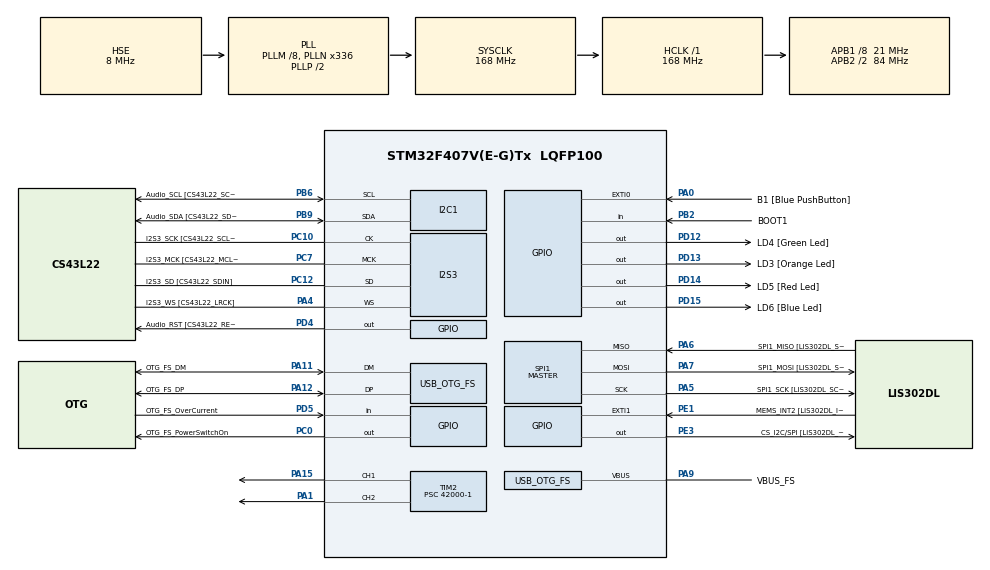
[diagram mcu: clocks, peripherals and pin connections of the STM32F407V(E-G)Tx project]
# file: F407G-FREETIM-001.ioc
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I2S3.AudioFreq-Half_Duplex_Master=I2S_AUDIOFREQ_96K
I2S3.ErrorAudioFreq=-2.34 %
I2S3.ErrorAudioFreq-Half_Duplex_Master=0.8 %
I2S3.FullDuplexMode=I2S_FULLDUPLEXMODE_DISABLE
I2S3.Instance=SPI$Index
I2S3.RealAudioFreq=93.75 KHz
I2S3.RealAudioFreq-Half_Duplex_Master=96.774 KHz
I2S3.VirtualMode=I2S_MODE_MASTER
Mcu.Family=STM32F4
Mcu.Name=STM32F407V(E-G)Tx
Mcu.Package=LQFP100
NVIC.OTG_FS_IRQn=true\:0\:0\:false\:false\:true\:true\:true\:true
NVIC.PriorityGroup=NVIC_PRIORITYGROUP_0
NVIC.TIM2_IRQn=true\:0\:0\:false\:false\:true\:true\:true\:true
PA0-WKUP.GPIO_Label=B1 [Blue PushButton]
PA0-WKUP.GPIO_ModeDefaultEXTI=GPIO_MODE_EVT_RISING
PA0-WKUP.GPIO_PuPd=GPIO_NOPULL
PA0-WKUP.Signal=GPXTI0
PA1.Signal=S_TIM2_CH2
PA10.GPIO_Label=OTG_FS_ID
PA10.GPIO_Mode=GPIO_MODE_AF_PP
PA10.GPIO_PuPd=GPIO_NOPULL
PA10.GPIO_Speed=GPIO_SPEED_FREQ_LOW
PA10.Signal=USB_OTG_FS_ID
PA11.GPIO_Label=OTG_FS_DM
PA11.GPIO_Mode=GPIO_MODE_AF_PP
PA11.GPIO_PuPd=GPIO_NOPULL
PA11.GPIO_Speed=GPIO_SPEED_FREQ_LOW
PA11.Mode=Host_Only
PA11.Signal=USB_OTG_FS_DM
PA12.GPIO_Label=OTG_FS_DP
PA12.GPIO_Mode=GPIO_MODE_AF_PP
PA12.GPIO_PuPd=GPIO_NOPULL
PA12.GPIO_Speed=GPIO_SPEED_FREQ_LOW
PA12.Mode=Host_Only
PA12.Signal=USB_OTG_FS_DP
PA13.GPIO_Label=SWDIO
PA13.Mode=Serial_Wire
PA13.Signal=SYS_JTMS-SWDIO
PA14.GPIO_Label=SWCLK
PA14.Mode=Serial_Wire
PA14.Signal=SYS_JTCK-SWCLK
PA15.Signal=S_TIM2_CH1_ETR
PA4.GPIO_Label=I2S3_WS [CS43L22_LRCK]
PA4.GPIO_Mode=GPIO_MODE_AF_PP
PA4.GPIO_PuPd=GPIO_NOPULL
PA4.GPIO_Speed=GPIO_SPEED_FREQ_LOW
PA4.Mode=Half_Duplex_Master
PA4.Signal=I2S3_WS
PA5.GPIO_Label=SPI1_SCK [LIS302DL_SCL/SPC]
PA5.GPIO_Mode=GPIO_MODE_AF_PP
PA5.GPIO_PuPd=GPIO_NOPULL
PA5.GPIO_Speed=GPIO_SPEED_FREQ_LOW
PA5.Mode=Full_Duplex_Master
PA5.Signal=SPI1_SCK
PA6.GPIO_Label=SPI1_MISO [LIS302DL_SDO]
PA6.GPIO_Mode=GPIO_MODE_AF_PP
PA6.GPIO_PuPd=GPIO_NOPULL
PA6.GPIO_Speed=GPIO_SPEED_FREQ_LOW
PA6.Mode=Full_Duplex_Master
PA6.Signal=SPI1_MISO
PA7.GPIO_Label=SPI1_MOSI [LIS302DL_SDA/SDI/SDO]
PA7.GPIO_Mode=GPIO_MODE_AF_PP
PA7.GPIO_PuPd=GPIO_NOPULL
PA7.GPIO_Speed=GPIO_SPEED_FREQ_LOW
PA7.Mode=Full_Duplex_Master
PA7.Signal=SPI1_MOSI
PA9.GPIO_Label=VBUS_FS
PA9.GPIO_Mode=GPIO_MODE_INPUT
PA9.GPIO_PuPd=GPIO_NOPULL
PA9.Mode=Activate_VBUS
PA9.Signal=USB_OTG_FS_VBUS
PB10.GPIO_Label=CLK_IN [MP45DT02_CLK]
PB10.GPIO_Mode=GPIO_MODE_AF_PP
PB10.GPIO_PuPd=GPIO_NOPULL
PB10.GPIO_Speed=GPIO_SPEED_FREQ_LOW
PB10.Signal=I2S2_CK
PB2.GPIO_Label=BOOT1
PB2.GPIO_Mode=GPIO_MODE_INPUT
PB2.GPIO_PuPd=GPIO_NOPULL
PB2.Signal=GPIO_Input
PB3.GPIO_Label=SWO
PB3.Signal=SYS_JTDO-SWO
PB6.GPIO_Label=Audio_SCL [CS43L22_SCL]
PB6.GPIO_Mode=GPIO_MODE_AF_OD
PB6.GPIO_Pu=GPIO_PULLUP
PB6.GPIO_PuPd=GPIO_NOPULL
PB6.GPIO_Speed=GPIO_SPEED_FREQ_LOW
PB6.Mode=I2C
PB6.Signal=I2C1_SCL
PB9.GPIO_Label=Audio_SDA [CS43L22_SDA]
PB9.GPIO_Mode=GPIO_MODE_AF_OD
PB9.GPIO_Pu=GPIO_PULLUP
PB9.GPIO_PuPd=GPIO_NOPULL
PB9.GPIO_Speed=GPIO_SPEED_FREQ_LOW
PB9.Mode=I2C
PB9.Signal=I2C1_SDA
PC0.GPIO_Label=OTG_FS_PowerSwitchOn
PC0.GPIO_PuPd=GPIO_NOPULL
PC0.GPIO_Speed=GPIO_SPEED_FREQ_LOW
PC0.PinState=GPIO_PIN_SET
PC0.Signal=GPIO_Output
PC10.GPIO_Label=I2S3_SCK [CS43L22_SCLK]
PC10.GPIO_Mode=GPIO_MODE_AF_PP
PC10.GPIO_PuPd=GPIO_NOPULL
PC10.GPIO_Speed=GPIO_SPEED_FREQ_LOW
PC10.Mode=Half_Duplex_Master
PC10.Signal=I2S3_CK
PC12.GPIO_Label=I2S3_SD [CS43L22_SDIN]
PC12.GPIO_Mode=GPIO_MODE_AF_PP
PC12.GPIO_PuPd=GPIO_NOPULL
PC12.GPIO_Speed=GPIO_SPEED_FREQ_LOW
PC12.Mode=Half_Duplex_Master
PC12.Signal=I2S3_SD
PC14-OSC32_IN.GPIO_Label=PC14-OSC32_IN
PC14-OSC32_IN.Mode=LSE-External-Oscillator
PC14-OSC32_IN.Signal=RCC_OSC32_IN
PC15-OSC32_OUT.GPIO_Label=PC15-OSC32_OUT
PC15-OSC32_OUT.Mode=LSE-External-Oscillator
PC15-OSC32_OUT.Signal=RCC_OSC32_OUT
PC3.GPIO_Label=PDM_OUT [MP45DT02_DOUT]
PC3.GPIO_Mode=GPIO_MODE_AF_PP
PC3.GPIO_PuPd=GPIO_NOPULL
PC3.GPIO_Speed=GPIO_SPEED_FREQ_LOW
PC3.Signal=I2S2_SD
PC7.GPIO_Label=I2S3_MCK [CS43L22_MCLK]
PC7.GPIO_Mode=GPIO_MODE_AF_PP
PC7.GPIO_PuPd=GPIO_NOPULL
PC7.GPIO_Speed=GPIO_SPEED_FREQ_LOW
PC7.Mode=Master_Clock_Activated
PC7.Signal=I2S3_MCK
PD12.GPIO_Label=LD4 [Green Led]
PD12.GPIO_PuPd=GPIO_NOPULL
PD12.GPIO_Speed=GPIO_SPEED_FREQ_LOW
PD12.Signal=GPIO_Output
PD13.GPIO_Label=LD3 [Orange Led]
PD13.GPIO_PuPd=GPIO_NOPULL
PD13.GPIO_Speed=GPIO_SPEED_FREQ_LOW
PD13.Signal=GPIO_Output
PD14.GPIO_Label=LD5 [Red Led]
PD14.GPIO_PuPd=GPIO_NOPULL
PD14.GPIO_Speed=GPIO_SPEED_FREQ_LOW
PD14.Signal=GPIO_Output
PD15.GPIO_Label=LD6 [Blue Led]
PD15.GPIO_PuPd=GPIO_NOPULL
PD15.GPIO_Speed=GPIO_SPEED_FREQ_LOW
PD15.Signal=GPIO_Output
PD4.GPIO_Label=Audio_RST [CS43L22_RESET]
PD4.GPIO_PuPd=GPIO_NOPULL
PD4.GPIO_Speed=GPIO_SPEED_FREQ_LOW
PD4.Signal=GPIO_Output
PD5.GPIO_Label=OTG_FS_OverCurrent
PD5.GPIO_Mode=GPIO_MODE_INPUT
PD5.GPIO_PuPd=GPIO_NOPULL
PD5.Signal=GPIO_Input
PE1.GPIO_Label=MEMS_INT2 [LIS302DL_INT2]
PE1.GPIO_ModeDefaultEXTI=GPIO_MODE_EVT_RISING
PE1.GPIO_PuPd=GPIO_NOPULL
PE1.Signal=GPXTI1
PE3.GPIO_Label=CS_I2C/SPI [LIS302DL_CS_I2C/SPI]
PE3.GPIO_PuPd=GPIO_NOPULL
PE3.GPIO_Speed=GPIO_SPEED_FREQ_LOW
PE3.Signal=GPIO_Output
PH0-OSC_IN.GPIO_Label=PH0-OSC_IN
PH0-OSC_IN.Mode=HSE-External-Oscillator
PH0-OSC_IN.Signal=RCC_OSC_IN
PH1-OSC_OUT.GPIO_Label=PH1-OSC_OUT
PH1-OSC_OUT.Mode=HSE-External-Oscillator
PH1-OSC_OUT.Signal=RCC_OSC_OUT
ProjectManager.HeapSize=0x200
ProjectManager.StackSize=0x400
ProjectManager.TargetToolchain=STM32CubeIDE
RCC.48MHZClocksFreq_Value=48000000
RCC.AHBFreq_Value=168000000
RCC.APB1CLKDivider=RCC_HCLK_DIV8
RCC.APB1Freq_Value=21000000
RCC.APB1TimFreq_Value=42000000
RCC.APB2CLKDivider=RCC_HCLK_DIV2
RCC.APB2Freq_Value=84000000
RCC.APB2TimFreq_Value=168000000
RCC.CortexFreq_Value=168000000
RCC.HCLKFreq_Value=168000000
RCC.HSE_VALUE=8000000
RCC.HSI_VALUE=16000000
RCC.PLLM=8
RCC.PLLN=336
RCC.PLLQ=7
RCC.SYSCLKFreq_VALUE=168000000
RCC.SYSCLKSource=RCC_SYSCLKSOURCE_PLLCLK
RCC.VCOOutputFreq_Value=336000000
SH.S_TIM2_CH1_ETR.0=TIM2_CH1,Output Compare1 CH1
SH.S_TIM2_CH2.0=TIM2_CH2,Output Compare2 CH2
SPI1.BaudRatePrescaler-Full_Duplex_Master=SPI_BAUDRATEPRESCALER_2
SPI1.CalculateBaudRate-Full_Duplex_Master=42.0 MBits/s
SPI1.Direction=SPI_DIRECTION_2LINES
SPI1.Mode=SPI_MODE_MASTER
SPI1.Mode-Full_Duplex_Master=SPI_MODE_MASTER
SPI1.VirtualType=VM_MASTER
TIM2.Channel-Output\ Compare1\ CH1=TIM_CHANNEL_1
TIM2.Channel-Output\ Compare2\ CH2=TIM_CHANNEL_2
TIM2.OC2Preload=DISABLE
TIM2.OCMode_2=TIM_OCMODE_TIMING
TIM2.Period=4294967295
TIM2.Prescaler=42000-1
TIM2.Pulse-Output\ Compare1\ CH1=2000
TIM2.Pulse-Output\ Compare2\ CH2=5000
USB_HOST.BSP.number=1
USB_HOST.USBH_HandleTypeDef-CDC_FS=hUsbHostFS
USB_HOST.VirtualModeFS=Cdc
USB_HOST0.BSP.STBoard=false
USB_HOST0.BSP.api=Unknown
USB_HOST0.BSP.instance=PC0
USB_HOST0.BSP.ip=GPIO
USB_HOST0.BSP.mode=Output
USB_HOST0.BSP.name=Drive_VBUS_FS
USB_HOST0.BSP.solution=PC0
USB_OTG_FS.VirtualMode=Host_Only
USB_OTG_FS.phy_itface=HCD_PHY_EMBEDDED
VP_TIM2_VS_ClockSourceINT.Mode=Internal
VP_USB_HOST_VS_USB_HOST_CDC_FS.Mode=CDC_FS
board=STM32F407G-DISC1

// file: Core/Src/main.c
/* USER CODE BEGIN Header */
/**
  ******************************************************************************
  * @file           : main.c
  * @brief          : Main program body
  ******************************************************************************
  * @attention
  *
  * Copyright (c) 2025 STMicroelectronics.
  * All rights reserved.
  *
  * This software is licensed under terms that can be found in the LICENSE file
  * in the root directory of this software component.
  * If no LICENSE file comes with this software, it is provided AS-IS.
  *
  ******************************************************************************
  */
/* USER CODE END Header */
#include "main.h"
#include "usb_host.h"

/* USER CODE BEGIN Includes */
#include <stdint.h>
/* USER CODE END Includes */

I2C_HandleTypeDef hi2c1;

I2S_HandleTypeDef hi2s3;

SPI_HandleTypeDef hspi1;

TIM_HandleTypeDef htim2;

/* USER CODE BEGIN PV */
uint8_t green_led_status = 0;
uint8_t red_led_status = 0;
/* USER CODE END PV */

void SystemClock_Config(void);
static void MX_GPIO_Init(void);
static void MX_I2C1_Init(void);
static void MX_I2S3_Init(void);
static void MX_SPI1_Init(void);
static void MX_TIM2_Init(void);
void MX_USB_HOST_Process(void);

int main(void)
{

  /* MCU Configuration--------------------------------------------------------*/

  /* Reset of all peripherals, Initializes the Flash interface and the Systick. */
  HAL_Init();

  /* Configure the system clock */
  SystemClock_Config();

  /* Initialize all configured peripherals */
  MX_GPIO_Init();
  MX_I2C1_Init();
  MX_I2S3_Init();
  MX_SPI1_Init();
  MX_USB_HOST_Init();
  MX_TIM2_Init();
  /* USER CODE BEGIN 2 */
  // Turn on LD4 (Green) and LD5 (Red) at startup
  HAL_GPIO_WritePin(GPIOD, LD4_Pin|LD5_Pin, GPIO_PIN_SET);
  green_led_status = (uint8_t)HAL_GPIO_ReadPin(GPIOD, LD4_Pin);
  red_led_status = (uint8_t)HAL_GPIO_ReadPin(GPIOD, LD5_Pin);

  // Start the Output Compare Interrupt for both channels
  // The timer will now begin counting and trigger interrupts on match.
  if (HAL_TIM_OC_Start_IT(&htim2, TIM_CHANNEL_1) != HAL_OK)
  {
    Error_Handler();
  }
  if (HAL_TIM_OC_Start_IT(&htim2, TIM_CHANNEL_2) != HAL_OK)
  {
    Error_Handler();
  }
  /* USER CODE END 2 */

  /* Infinite loop */
  while (1)
  {
    MX_USB_HOST_Process();

  }
}

void SystemClock_Config(void)
{
  RCC_OscInitTypeDef RCC_OscInitStruct = {0};
  RCC_ClkInitTypeDef RCC_ClkInitStruct = {0};

  /** Configure the main internal regulator output voltage
  */
  __HAL_RCC_PWR_CLK_ENABLE();
  __HAL_PWR_VOLTAGESCALING_CONFIG(PWR_REGULATOR_VOLTAGE_SCALE1);

  /** Initializes the RCC Oscillators according to the specified parameters
  * in the RCC_OscInitTypeDef structure.
  */
  RCC_OscInitStruct.OscillatorType = RCC_OSCILLATORTYPE_HSE;
  RCC_OscInitStruct.HSEState = RCC_HSE_ON;
  RCC_OscInitStruct.PLL.PLLState = RCC_PLL_ON;
  RCC_OscInitStruct.PLL.PLLSource = RCC_PLLSOURCE_HSE;
  RCC_OscInitStruct.PLL.PLLM = 8;
  RCC_OscInitStruct.PLL.PLLN = 336;
  RCC_OscInitStruct.PLL.PLLP = RCC_PLLP_DIV2;
  RCC_OscInitStruct.PLL.PLLQ = 7;
  if (HAL_RCC_OscConfig(&RCC_OscInitStruct) != HAL_OK)
  {
    Error_Handler();
  }

  /** Initializes the CPU, AHB and APB buses clocks
  */
  RCC_ClkInitStruct.ClockType = RCC_CLOCKTYPE_HCLK|RCC_CLOCKTYPE_SYSCLK
                              |RCC_CLOCKTYPE_PCLK1|RCC_CLOCKTYPE_PCLK2;
  RCC_ClkInitStruct.SYSCLKSource = RCC_SYSCLKSOURCE_PLLCLK;
  RCC_ClkInitStruct.AHBCLKDivider = RCC_SYSCLK_DIV1;
  RCC_ClkInitStruct.APB1CLKDivider = RCC_HCLK_DIV8;
  RCC_ClkInitStruct.APB2CLKDivider = RCC_HCLK_DIV2;

  if (HAL_RCC_ClockConfig(&RCC_ClkInitStruct, FLASH_LATENCY_5) != HAL_OK)
  {
    Error_Handler();
  }
}

static void MX_I2C1_Init(void)
{

  hi2c1.Instance = I2C1;
  hi2c1.Init.ClockSpeed = 100000;
  hi2c1.Init.DutyCycle = I2C_DUTYCYCLE_2;
  hi2c1.Init.OwnAddress1 = 0;
  hi2c1.Init.AddressingMode = I2C_ADDRESSINGMODE_7BIT;
  hi2c1.Init.DualAddressMode = I2C_DUALADDRESS_DISABLE;
  hi2c1.Init.OwnAddress2 = 0;
  hi2c1.Init.GeneralCallMode = I2C_GENERALCALL_DISABLE;
  hi2c1.Init.NoStretchMode = I2C_NOSTRETCH_DISABLE;
  if (HAL_I2C_Init(&hi2c1) != HAL_OK)
  {
    Error_Handler();
  }

}

static void MX_I2S3_Init(void)
{

  hi2s3.Instance = SPI3;
  hi2s3.Init.Mode = I2S_MODE_MASTER_TX;
  hi2s3.Init.Standard = I2S_STANDARD_PHILIPS;
  hi2s3.Init.DataFormat = I2S_DATAFORMAT_16B;
  hi2s3.Init.MCLKOutput = I2S_MCLKOUTPUT_ENABLE;
  hi2s3.Init.AudioFreq = I2S_AUDIOFREQ_96K;
  hi2s3.Init.CPOL = I2S_CPOL_LOW;
  hi2s3.Init.ClockSource = I2S_CLOCK_PLL;
  hi2s3.Init.FullDuplexMode = I2S_FULLDUPLEXMODE_DISABLE;
  if (HAL_I2S_Init(&hi2s3) != HAL_OK)
  {
    Error_Handler();
  }

}

static void MX_SPI1_Init(void)
{

  /* SPI1 parameter configuration*/
  hspi1.Instance = SPI1;
  hspi1.Init.Mode = SPI_MODE_MASTER;
  hspi1.Init.Direction = SPI_DIRECTION_2LINES;
  hspi1.Init.DataSize = SPI_DATASIZE_8BIT;
  hspi1.Init.CLKPolarity = SPI_POLARITY_LOW;
  hspi1.Init.CLKPhase = SPI_PHASE_1EDGE;
  hspi1.Init.NSS = SPI_NSS_SOFT;
  hspi1.Init.BaudRatePrescaler = SPI_BAUDRATEPRESCALER_2;
  hspi1.Init.FirstBit = SPI_FIRSTBIT_MSB;
  hspi1.Init.TIMode = SPI_TIMODE_DISABLE;
  hspi1.Init.CRCCalculation = SPI_CRCCALCULATION_DISABLE;
  hspi1.Init.CRCPolynomial = 10;
  if (HAL_SPI_Init(&hspi1) != HAL_OK)
  {
    Error_Handler();
  }

}

static void MX_TIM2_Init(void)
{

  TIM_ClockConfigTypeDef sClockSourceConfig = {0};
  TIM_MasterConfigTypeDef sMasterConfig = {0};
  TIM_OC_InitTypeDef sConfigOC = {0};

  htim2.Instance = TIM2;
  htim2.Init.Prescaler = 42000-1;
  htim2.Init.CounterMode = TIM_COUNTERMODE_UP;
  htim2.Init.Period = 4294967295;
  htim2.Init.ClockDivision = TIM_CLOCKDIVISION_DIV1;
  htim2.Init.AutoReloadPreload = TIM_AUTORELOAD_PRELOAD_DISABLE;
  if (HAL_TIM_Base_Init(&htim2) != HAL_OK)
  {
    Error_Handler();
  }
  sClockSourceConfig.ClockSource = TIM_CLOCKSOURCE_INTERNAL;
  if (HAL_TIM_ConfigClockSource(&htim2, &sClockSourceConfig) != HAL_OK)
  {
    Error_Handler();
  }
  if (HAL_TIM_OC_Init(&htim2) != HAL_OK)
  {
    Error_Handler();
  }
  sMasterConfig.MasterOutputTrigger = TIM_TRGO_RESET;
  sMasterConfig.MasterSlaveMode = TIM_MASTERSLAVEMODE_DISABLE;
  if (HAL_TIMEx_MasterConfigSynchronization(&htim2, &sMasterConfig) != HAL_OK)
  {
    Error_Handler();
  }
  sConfigOC.OCMode = TIM_OCMODE_TIMING;
  sConfigOC.Pulse = 2000;
  sConfigOC.OCPolarity = TIM_OCPOLARITY_HIGH;
  sConfigOC.OCFastMode = TIM_OCFAST_DISABLE;
  if (HAL_TIM_OC_ConfigChannel(&htim2, &sConfigOC, TIM_CHANNEL_1) != HAL_OK)
  {
    Error_Handler();
  }
  sConfigOC.Pulse = 5000;
  if (HAL_TIM_OC_ConfigChannel(&htim2, &sConfigOC, TIM_CHANNEL_2) != HAL_OK)
  {
    Error_Handler();
  }
  HAL_TIM_MspPostInit(&htim2);

}

static void MX_GPIO_Init(void)
{
  GPIO_InitTypeDef GPIO_InitStruct = {0};

  /* GPIO Ports Clock Enable */
  __HAL_RCC_GPIOE_CLK_ENABLE();
  __HAL_RCC_GPIOC_CLK_ENABLE();
  __HAL_RCC_GPIOH_CLK_ENABLE();
  __HAL_RCC_GPIOA_CLK_ENABLE();
  __HAL_RCC_GPIOB_CLK_ENABLE();
  __HAL_RCC_GPIOD_CLK_ENABLE();

  /*Configure GPIO pin Output Level */
  HAL_GPIO_WritePin(CS_I2C_SPI_GPIO_Port, CS_I2C_SPI_Pin, GPIO_PIN_RESET);

  /*Configure GPIO pin Output Level */
  HAL_GPIO_WritePin(OTG_FS_PowerSwitchOn_GPIO_Port, OTG_FS_PowerSwitchOn_Pin, GPIO_PIN_SET);

  /*Configure GPIO pin Output Level */
  HAL_GPIO_WritePin(GPIOD, LD4_Pin|LD3_Pin|LD5_Pin|LD6_Pin
                          |Audio_RST_Pin, GPIO_PIN_RESET);

  /*Configure GPIO pin : CS_I2C_SPI_Pin */
  GPIO_InitStruct.Pin = CS_I2C_SPI_Pin;
  GPIO_InitStruct.Mode = GPIO_MODE_OUTPUT_PP;
  GPIO_InitStruct.Pull = GPIO_NOPULL;
  GPIO_InitStruct.Speed = GPIO_SPEED_FREQ_LOW;
  HAL_GPIO_Init(CS_I2C_SPI_GPIO_Port, &GPIO_InitStruct);

  /*Configure GPIO pin : OTG_FS_PowerSwitchOn_Pin */
  GPIO_InitStruct.Pin = OTG_FS_PowerSwitchOn_Pin;
  GPIO_InitStruct.Mode = GPIO_MODE_OUTPUT_PP;
  GPIO_InitStruct.Pull = GPIO_NOPULL;
  GPIO_InitStruct.Speed = GPIO_SPEED_FREQ_LOW;
  HAL_GPIO_Init(OTG_FS_PowerSwitchOn_GPIO_Port, &GPIO_InitStruct);

  /*Configure GPIO pin : PDM_OUT_Pin */
  GPIO_InitStruct.Pin = PDM_OUT_Pin;
  GPIO_InitStruct.Mode = GPIO_MODE_AF_PP;
  GPIO_InitStruct.Pull = GPIO_NOPULL;
  GPIO_InitStruct.Speed = GPIO_SPEED_FREQ_LOW;
  GPIO_InitStruct.Alternate = GPIO_AF5_SPI2;
  HAL_GPIO_Init(PDM_OUT_GPIO_Port, &GPIO_InitStruct);

  /*Configure GPIO pin : B1_Pin */
  GPIO_InitStruct.Pin = B1_Pin;
  GPIO_InitStruct.Mode = GPIO_MODE_EVT_RISING;
  GPIO_InitStruct.Pull = GPIO_NOPULL;
  HAL_GPIO_Init(B1_GPIO_Port, &GPIO_InitStruct);

  /*Configure GPIO pin : BOOT1_Pin */
  GPIO_InitStruct.Pin = BOOT1_Pin;
  GPIO_InitStruct.Mode = GPIO_MODE_INPUT;
  GPIO_InitStruct.Pull = GPIO_NOPULL;
  HAL_GPIO_Init(BOOT1_GPIO_Port, &GPIO_InitStruct);

  /*Configure GPIO pin : CLK_IN_Pin */
  GPIO_InitStruct.Pin = CLK_IN_Pin;
  GPIO_InitStruct.Mode = GPIO_MODE_AF_PP;
  GPIO_InitStruct.Pull = GPIO_NOPULL;
  GPIO_InitStruct.Speed = GPIO_SPEED_FREQ_LOW;
  GPIO_InitStruct.Alternate = GPIO_AF5_SPI2;
  HAL_GPIO_Init(CLK_IN_GPIO_Port, &GPIO_InitStruct);

  /*Configure GPIO pins : LD4_Pin LD3_Pin LD5_Pin LD6_Pin
                           Audio_RST_Pin */
  GPIO_InitStruct.Pin = LD4_Pin|LD3_Pin|LD5_Pin|LD6_Pin
                          |Audio_RST_Pin;
  GPIO_InitStruct.Mode = GPIO_MODE_OUTPUT_PP;
  GPIO_InitStruct.Pull = GPIO_NOPULL;
  GPIO_InitStruct.Speed = GPIO_SPEED_FREQ_LOW;
  HAL_GPIO_Init(GPIOD, &GPIO_InitStruct);

  /*Configure GPIO pin : OTG_FS_OverCurrent_Pin */
  GPIO_InitStruct.Pin = OTG_FS_OverCurrent_Pin;
  GPIO_InitStruct.Mode = GPIO_MODE_INPUT;
  GPIO_InitStruct.Pull = GPIO_NOPULL;
  HAL_GPIO_Init(OTG_FS_OverCurrent_GPIO_Port, &GPIO_InitStruct);

  /*Configure GPIO pin : MEMS_INT2_Pin */
  GPIO_InitStruct.Pin = MEMS_INT2_Pin;
  GPIO_InitStruct.Mode = GPIO_MODE_EVT_RISING;
  GPIO_InitStruct.Pull = GPIO_NOPULL;
  HAL_GPIO_Init(MEMS_INT2_GPIO_Port, &GPIO_InitStruct);

}

/* USER CODE BEGIN 4 */
/* Output Compare Delay Elapsed Callback (One-Shot Logic) */
void HAL_TIM_OC_DelayElapsedCallback(TIM_HandleTypeDef *htim)
{
    // Check if the interrupt comes from TIM2
    if (htim->Instance == TIM2)
    {
        switch (htim->Channel)
        {
            case HAL_TIM_ACTIVE_CHANNEL_1:
                // Channel 1 elapsed. Turn off LD4.
                HAL_GPIO_WritePin(GPIOD, LD4_Pin, GPIO_PIN_RESET);
                green_led_status = (uint8_t)HAL_GPIO_ReadPin(GPIOD, LD4_Pin);

                // Stop the Output Compare Channel 1 Interrupt (One-shot complete)
                HAL_TIM_OC_Stop_IT(htim, TIM_CHANNEL_1);
              break;

            case HAL_TIM_ACTIVE_CHANNEL_2:
            	// Channel 2 elapsed. Turn off LD5.
            	HAL_GPIO_WritePin(GPIOD, LD5_Pin, GPIO_PIN_RESET);
            	red_led_status = (uint8_t)HAL_GPIO_ReadPin(GPIOD, LD5_Pin);

                // Stop the Output Compare Channel 2 Interrupt (One-shot complete)
            	HAL_TIM_OC_Stop_IT(htim, TIM_CHANNEL_2);
              break;

            default:
                break;
        }
    }
}
/* USER CODE END 4 */

void Error_Handler(void)
{
  __disable_irq();
  while (1)
  {
  }
}
